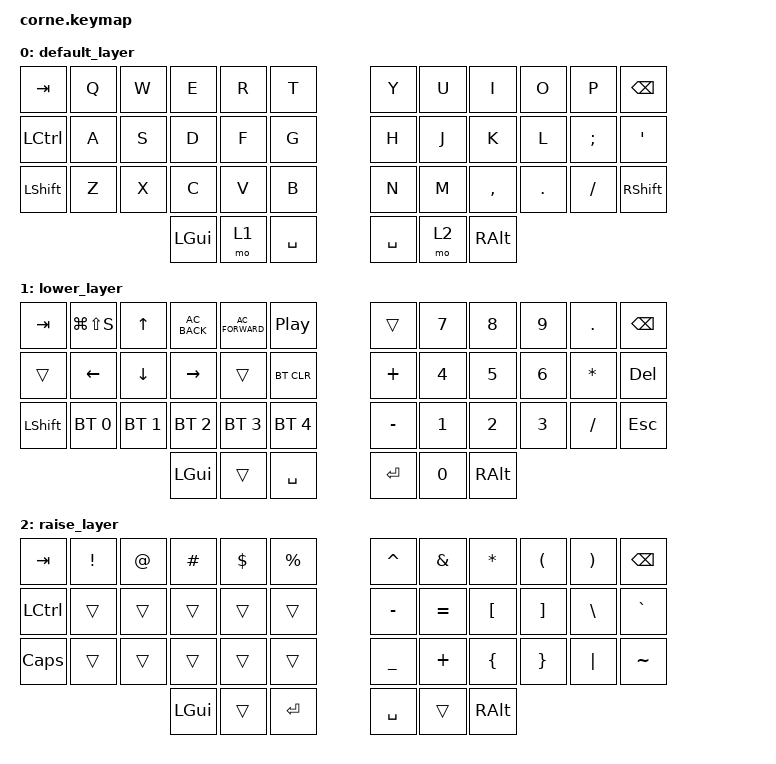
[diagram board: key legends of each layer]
/*
 * Copyright (c) 2020 The ZMK Contributors
 *
 * SPDX-License-Identifier: MIT
 */

#include <behaviors.dtsi>
#include <dt-bindings/zmk/bt.h>
#include <dt-bindings/zmk/keys.h>

/ {
    keymap {
        compatible = "zmk,keymap";

        default_layer {
            // -----------------------------------------------------------------------------------------
            // |  TAB |  Q  |  W  |  E  |  R  |  T  |   |  Y  |  U   |  I  |  O  |  P  | BKSP |
            // | CTRL |  A  |  S  |  D  |  F  |  G  |   |  H  |  J   |  K  |  L  |  ;  |  '   |
            // | SHFT |  Z  |  X  |  C  |  V  |  B  |   |  N  |  M   |  ,  |  .  |  /  | ESC  |
            //                    | GUI | LWR | SPC |   | ENT | RSE  | ALT |

            bindings = <
&kp TAB    &kp Q  &kp W  &kp E     &kp R  &kp T        &kp Y      &kp U  &kp I      &kp O    &kp P     &kp BSPC
&kp LCTRL  &kp A  &kp S  &kp D     &kp F  &kp G        &kp H      &kp J  &kp K      &kp L    &kp SEMI  &kp SQT
&kp LSHFT  &kp Z  &kp X  &kp C     &kp V  &kp B        &kp N      &kp M  &kp COMMA  &kp DOT  &kp FSLH  &kp RIGHT_SHIFT
                         &kp LGUI  &mo 1  &kp SPACE    &kp SPACE  &mo 2  &kp RALT
            >;
        };

        lower_layer {
            // -----------------------------------------------------------------------------------------
            // |  TAB |  1  |  2  |  3  |  4  |  5  |   |  6  |  7  |  8  |  9  |  0  | BKSP |
            // | BTCLR| BT1 | BT2 | BT3 | BT4 | BT5 |   | LFT | DWN |  UP | RGT |     |      |
            // | SHFT |     |     |     |     |     |   |     |     |     |     |     |      |
            //                    | GUI |     | SPC |   | ENT |     | ALT |

            bindings = <
&kp TAB         &kp LG(LS(S))  &kp UP        &kp C_AC_BACK  &kp C_AC_FORWARD  &kp C_PLAY_PAUSE    &trans     &kp N7        &kp N8        &kp N9        &kp PERIOD    &kp BACKSPACE
&trans          &kp LEFT       &kp DOWN      &kp RIGHT      &trans            &bt BT_CLR          &kp PLUS   &kp NUMBER_4  &kp NUMBER_5  &kp NUMBER_6  &kp ASTERISK  &kp DELETE
&kp LEFT_SHIFT  &bt BT_SEL 0   &bt BT_SEL 1  &bt BT_SEL 2   &bt BT_SEL 3      &bt BT_SEL 4        &kp MINUS  &kp NUMBER_1  &kp NUMBER_2  &kp NUMBER_3  &kp SLASH     &kp ESCAPE
                                             &kp LGUI       &trans            &kp SPACE           &kp RET    &kp NUMBER_0  &kp RALT
            >;
        };

        raise_layer {
            // -----------------------------------------------------------------------------------------
            // |  TAB |  !  |  @  |  #  |  $  |  %  |   |  ^  |  &  |  *  |  (  |  )  | BKSP |
            // | CTRL |     |     |     |     |     |   |  -  |  =  |  [  |  ]  |  \  |  `   |
            // | SHFT |     |     |     |     |     |   |  _  |  +  |  {  |  }  | "|" |  ~   |
            //                    | GUI |     | SPC |   | ENT |     | ALT |

            bindings = <
&kp TAB       &kp EXCL  &kp AT  &kp HASH  &kp DLLR  &kp PRCNT    &kp CARET  &kp AMPS   &kp ASTRK  &kp LPAR  &kp RPAR  &kp BSPC
&kp LCTRL     &trans    &trans  &trans    &trans    &trans       &kp MINUS  &kp EQUAL  &kp LBKT   &kp RBKT  &kp BSLH  &kp GRAVE
&kp CAPSLOCK  &trans    &trans  &trans    &trans    &trans       &kp UNDER  &kp PLUS   &kp LBRC   &kp RBRC  &kp PIPE  &kp TILDE
                                &kp LGUI  &trans    &kp ENTER    &kp SPACE  &trans     &kp RALT
            >;
        };
    };
};
